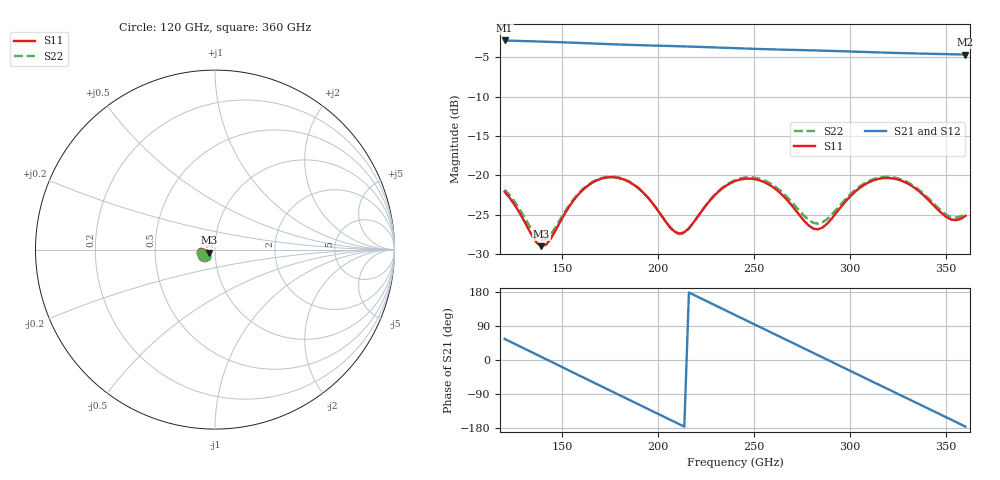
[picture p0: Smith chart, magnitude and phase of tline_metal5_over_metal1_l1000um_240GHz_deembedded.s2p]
! Created with skrf 2.2.0 (http://scikit-rf.org).
# GHz S DB R 50.0
! Port[1] = P1
! Port[2] = P2
!freq dBS11 angS11 dBS21 angS21 dBS12 angS12 dBS22 angS22
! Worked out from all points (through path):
!   101 points, 120 GHz to 360 GHz, reference 50 ohm
!   highest |S21| = -2.89 dB at 120 GHz (marker M1); lowest = -4.7 dB at 360 GHz (marker M2)
!   group delay of S21, straight-line fit = 6.84 ps
!   lowest |S11| = -29.0 dB at 139.2 GHz (marker M3), VSWR 1.07, Z = 46.9 - j1.61 ohm
!   |S11| at or under -10 dB: start of sweep to end of sweep
!   |S22| runs from -28.2 to -20.2 dB; largest |S21 - S12| = 1.2e-13
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120  -22.09 -170.7  -2.89 55.7  -2.89 55.7  -21.80 -168.0
129.6  -25.51 -175.7  -2.96 31.9  -2.96 31.9  -25.01 -172.9
139.2  -28.97 -151.2  -3.03 8.1  -3.03 8.1  -28.18 -151.3
148.8  -25.94 -123.4  -3.11 -15.8  -3.11 -15.8  -25.64 -125.2
160.8  -21.82 -128.8  -3.22 -45.6  -3.22 -45.6  -21.72 -129.3
170.4  -20.41 -142.3  -3.31 -69.4  -3.31 -69.4  -20.34 -142.3
180  -20.36 -157.0  -3.40 -93.1  -3.40 -93.1  -20.30 -156.6
189.6  -21.61 -169.6  -3.48 -116.7  -3.48 -116.7  -21.56 -169.1
201.6  -25.05 -173.7  -3.56 -146.3  -3.56 -146.3  -25.05 -173.0
211.2  -27.38 -153.0  -3.63 -170.0  -3.63 -170.0  -27.46 -151.5
220.8  -25.15 -131.8  -3.70 166.2  -3.70 166.2  -25.15 -129.4
240  -20.72 -143.2  -3.87 118.9  -3.87 118.9  -20.60 -140.4
249.6  -20.44 -156.0  -3.95 95.3  -3.95 95.3  -20.27 -152.9
259.2  -21.39 -167.5  -4.02 71.8  -4.02 71.8  -21.14 -164.1
280.8  -26.74 -157.5  -4.15 18.7  -4.15 18.7  -26.01 -155.6
290.4  -25.46 -135.0  -4.21 -5.0  -4.21 -5.0  -24.96 -135.3
300  -22.65 -131.8  -4.29 -28.6  -4.29 -28.6  -22.40 -131.8
312  -20.63 -142.5  -4.38 -58.1  -4.38 -58.1  -20.48 -141.6
321.6  -20.36 -154.1  -4.46 -81.6  -4.46 -81.6  -20.21 -152.6
338.4  -22.55 -168.6  -4.56 -122.7  -4.56 -122.7  -22.36 -166.4
350.4  -25.32 -160.1  -4.63 -152.1  -4.63 -152.1  -25.03 -157.7
360  -25.13 -140.8  -4.68 -175.7  -4.68 -175.7  -24.83 -138.9
